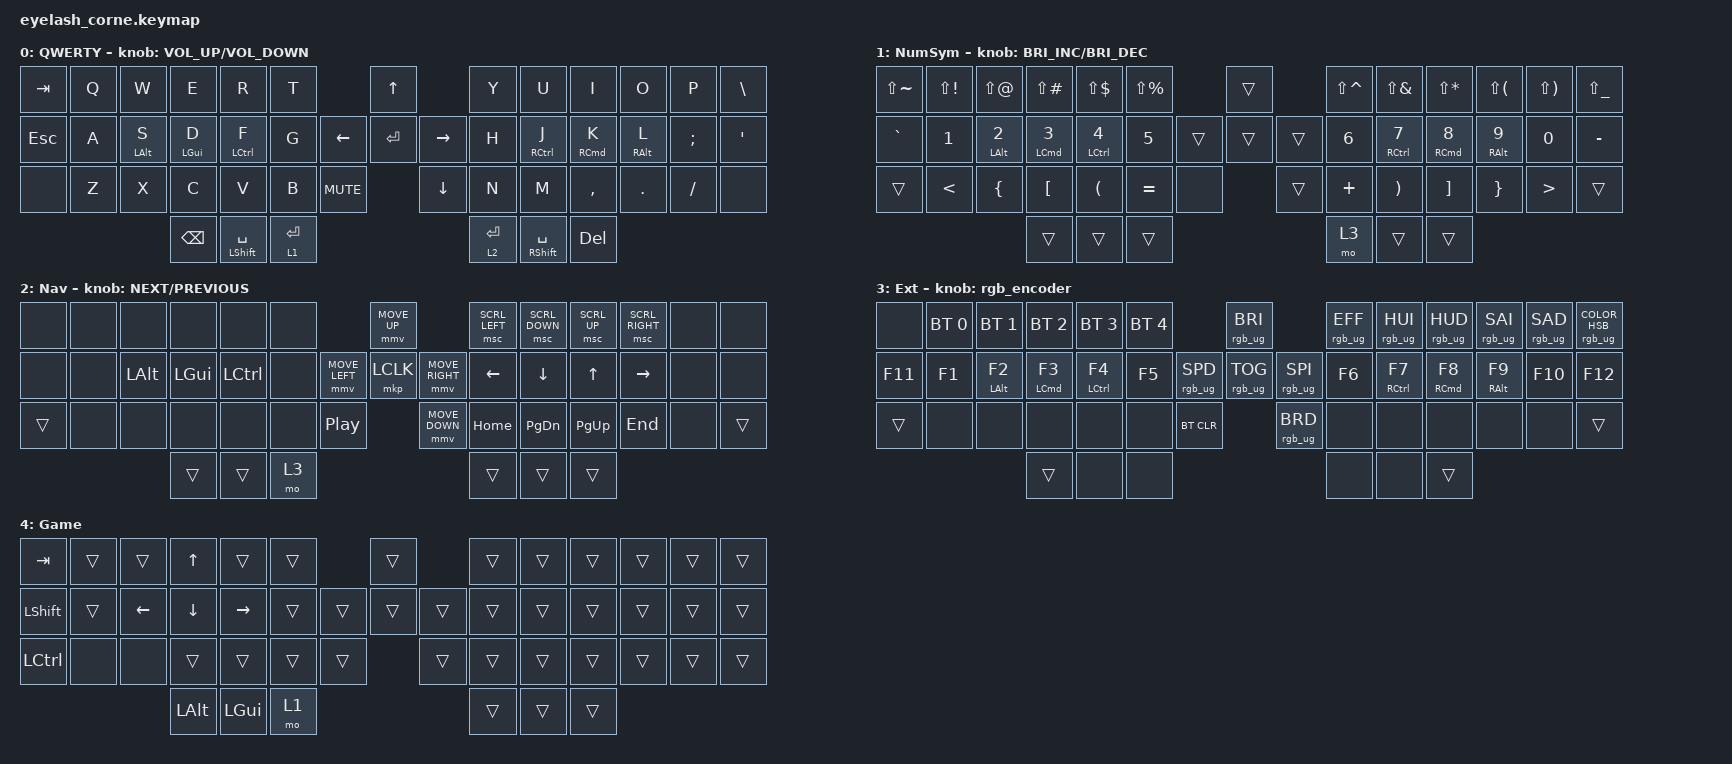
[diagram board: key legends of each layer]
#define ZMK_POINTING_DEFAULT_MOVE_VAL 1200  // 600
#define ZMK_POINTING_DEFAULT_SCRL_VAL 25   // 10

#include <input/processors.dtsi>
#include <zephyr/dt-bindings/input/input-event-codes.h>
#include <behaviors.dtsi>
#include <dt-bindings/zmk/bt.h>
#include <dt-bindings/zmk/keys.h>
#include <dt-bindings/zmk/pointing.h>
#include <dt-bindings/zmk/rgb.h>

&mmv_input_listener { input-processors = <&zip_xy_scaler 2 1>; };

&msc_input_listener { input-processors = <&zip_scroll_scaler 2 1>; };

&msc {
    acceleration-exponent = <1>;      // 0
    time-to-max-speed-ms = <100>;       // 300
    delay-ms = <0>;                   // 0
};

&mmv {
    time-to-max-speed-ms = <500>;
    acceleration-exponent = <1>;
    trigger-period-ms = <16>;
};

&soft_off { hold-time-ms = <2000>; };

/ {
    behaviors {
        td0: td0 {
            compatible = "zmk,behavior-tap-dance";
            display-name = "Shift/Caps Lock Tap Dance";
            #binding-cells = <0>;
            bindings = <&kp LEFT_SHIFT>, <&kp CAPS>;
        };

        home_row_hold_tap_left: home_row_hold_tap_left {
            compatible = "zmk,behavior-hold-tap";
            label = "HOME_ROW_HOLD_TAP_LEFT";
            bindings = <&kp>, <&kp>;

            #binding-cells = <2>;
            tapping-term-ms = <200>;
            flavor = "balanced";
            quick-tap-ms = <175>;
            require-prior-idle-ms = <125>;
            hold-trigger-key-positions = <7 8 10 9 11 12 27 41 40 26 25 39 38 24 22 36 37 23 47 46 45 44 43 42>;
        };

        hold_tap: hold_tap {
            compatible = "zmk,behavior-hold-tap";
            label = "HOLD_TAP";
            bindings = <&kp>, <&kp>;

            #binding-cells = <2>;
            tapping-term-ms = <200>;
            quick-tap-ms = <200>;
        };

        layer_tap: layer_tap {
            compatible = "zmk,behavior-hold-tap";
            label = "LAYER_TAP";
            bindings = <&mo>, <&kp>;

            #binding-cells = <2>;
            tapping-term-ms = <150>;
            quick-tap-ms = <100>;
            flavor = "balanced";
            hold-trigger-on-release;
            require-prior-idle-ms = <50>;
        };

        home_row_hold_tap_right: home_row_hold_tap_right {
            compatible = "zmk,behavior-hold-tap";
            label = "HOME_ROW_HOLD_TAP_RIGHT";
            bindings = <&kp>, <&kp>;

            #binding-cells = <2>;
            tapping-term-ms = <200>;
            flavor = "balanced";
            quick-tap-ms = <175>;
            require-prior-idle-ms = <125>;
            hold-trigger-key-positions = <47 46 45 44 43 42 33 18 5 4 32 17 16 31 3 2 15 30 29 1 14 0 13 28>;
        };

        home_row_hold_tap: home_row_hold_tap {
            compatible = "zmk,behavior-hold-tap";
            label = "HOME_ROW_HOLD_TAP";
            bindings = <&kp>, <&kp>;

            #binding-cells = <2>;
            tapping-term-ms = <200>;
            flavor = "balanced";
            quick-tap-ms = <175>;
            require-prior-idle-ms = <125>;
        };
    };

    rgb_encoder: rgb_encoder {
        compatible = "zmk,behavior-sensor-rotate";
        #sensor-binding-cells = <0>;
        bindings = <&rgb_ug RGB_BRI>, <&rgb_ug RGB_BRD>;
    };

    scroll_encoder: scroll_encoder {
        compatible = "zmk,behavior-sensor-rotate";
        #sensor-binding-cells = <0>;
        bindings = <&msc SCRL_DOWN>, <&msc SCRL_UP>;

        tap-ms = <100>;
    };

    combos {
        compatible = "zmk,combos";

        game-mod {
            bindings = <&tog 4>;
            key-positions = <28 41>;
        };
    };

    keymap {
        compatible = "zmk,keymap";

        QWERTY {
            display-name = "QWERTY";
            bindings = <
&kp TAB     &kp Q  &kp W                               &kp E                               &kp R                                   &kp T                                       &kp UP                &kp Y               &kp U                                     &kp I                                     &kp O                                 &kp P          &kp BACKSLASH
&kp ESCAPE  &kp A  &home_row_hold_tap_left LEFT_ALT S  &home_row_hold_tap_left LEFT_GUI D  &home_row_hold_tap_left LEFT_CONTROL F  &kp G                             &kp LEFT  &kp ENTER  &kp RIGHT  &kp H               &home_row_hold_tap_right RIGHT_CONTROL J  &home_row_hold_tap_right RIGHT_COMMAND K  &home_row_hold_tap_right RIGHT_ALT L  &kp SEMICOLON  &kp SQT
&none       &kp Z  &kp X                               &kp C                               &kp V                                   &kp B               &kp K_MUTE              &kp DOWN              &kp N               &kp M                                     &kp COMMA                                 &kp DOT                               &kp FSLH       &none
                                                       &kp BACKSPACE                       &home_row_hold_tap LEFT_SHIFT SPACE     &layer_tap 1 ENTER                                                &layer_tap 2 ENTER  &home_row_hold_tap RIGHT_SHIFT SPACE      &kp DELETE
            >;

            sensor-bindings = <&inc_dec_kp C_VOLUME_UP C_VOLUME_DOWN>;
        };

        NumSym {
            bindings = <
&kp LS(TILDE)  &kp LS(EXCL)   &kp LS(AT)                                 &kp LS(POUND)                                  &kp LS(DLLR)                                   &kp LS(PRCNT)                   &trans          &kp LS(CARET)  &kp LS(AMPS)                                     &kp LS(STAR)                                     &kp LS(LPAR)                                 &kp LS(RPAR)      &kp LS(UNDER)
&kp GRAVE      &kp NUMBER_1   &home_row_hold_tap_left LEFT_ALT NUMBER_2  &home_row_hold_tap_left LEFT_COMMAND NUMBER_3  &home_row_hold_tap_left LEFT_CONTROL NUMBER_4  &kp N5                  &trans  &trans  &trans  &kp N6         &home_row_hold_tap_right RIGHT_CONTROL NUMBER_7  &home_row_hold_tap_right RIGHT_COMMAND NUMBER_8  &home_row_hold_tap_right RIGHT_ALT NUMBER_9  &kp NUMBER_0      &kp MINUS
&trans         &kp LESS_THAN  &kp LEFT_BRACE                             &kp LEFT_BRACKET                               &kp LEFT_PARENTHESIS                           &kp EQUAL      &none            &trans          &kp PLUS       &kp RIGHT_PARENTHESIS                            &kp RIGHT_BRACKET                                &kp RIGHT_BRACE                              &kp GREATER_THAN  &trans
                                                                         &trans                                         &trans                                         &trans                                          &mo 3          &trans                                           &trans
            >;

            label = "NumSym";
            sensor-bindings = <&inc_dec_kp C_BRIGHTNESS_INC C_BRIGHTNESS_DEC>;
        };

        Nav {
            bindings = <
&none   &none  &none     &none     &none      &none                                      &mmv MOVE_UP                     &msc SCRL_LEFT  &msc SCRL_DOWN  &msc SCRL_UP  &msc SCRL_RIGHT  &none  &none
&none   &none  &kp LALT  &kp LGUI  &kp LCTRL  &none                      &mmv MOVE_LEFT  &mkp LCLK       &mmv MOVE_RIGHT  &kp LEFT        &kp DOWN        &kp UP        &kp RIGHT        &none  &none
&trans  &none  &none     &none     &none      &none  &kp C_PLAY_PAUSE                    &mmv MOVE_DOWN                   &kp HOME        &kp PG_DN       &kp PG_UP     &kp END          &none  &trans
                         &trans    &trans     &mo 3                                                                       &trans          &trans          &trans
            >;

            label = "Nav";
            sensor-bindings = <&inc_dec_kp C_NEXT C_PREVIOUS>;
        };

        Ext {
            bindings = <
&none    &bt BT_SEL 0  &bt BT_SEL 1                         &bt BT_SEL 2                             &bt BT_SEL 3                             &bt BT_SEL 4                                 &rgb_ug RGB_BRI                   &rgb_ug RGB_EFF  &rgb_ug RGB_HUI                            &rgb_ug RGB_HUD                            &rgb_ug RGB_SAI                        &rgb_ug RGB_SAD  &rgb_ug RGB_COLOR_HSB(0,0,100)
&kp F11  &kp F1        &home_row_hold_tap_left LEFT_ALT F2  &home_row_hold_tap_left LEFT_COMMAND F3  &home_row_hold_tap_left LEFT_CONTROL F4  &kp F5                      &rgb_ug RGB_SPD  &rgb_ug RGB_TOG  &rgb_ug RGB_SPI  &kp F6           &home_row_hold_tap_right RIGHT_CONTROL F7  &home_row_hold_tap_right RIGHT_COMMAND F8  &home_row_hold_tap_right RIGHT_ALT F9  &kp F10          &kp F12
&trans   &none         &none                                &none                                    &none                                    &none         &bt BT_CLR                     &rgb_ug RGB_BRD                   &none            &none                                      &none                                      &none                                  &none            &trans
                                                            &trans                                   &none                                    &none                                                                          &none            &none                                      &trans
            >;

            label = "Ext";
            sensor-bindings = <&rgb_encoder>;
        };

        Game {
            bindings = <
&kp TAB    &trans  &trans    &kp UP    &trans     &trans                    &trans          &trans  &trans  &trans  &trans  &trans  &trans
&kp LSHFT  &trans  &kp LEFT  &kp DOWN  &kp RIGHT  &trans            &trans  &trans  &trans  &trans  &trans  &trans  &trans  &trans  &trans
&kp LCTRL  &none   &none     &trans    &trans     &trans  &trans            &trans          &trans  &trans  &trans  &trans  &trans  &trans
                             &kp LALT  &kp LGUI   &mo 1                                     &trans  &trans  &trans
            >;

            label = "Game";
        };
    };
};
